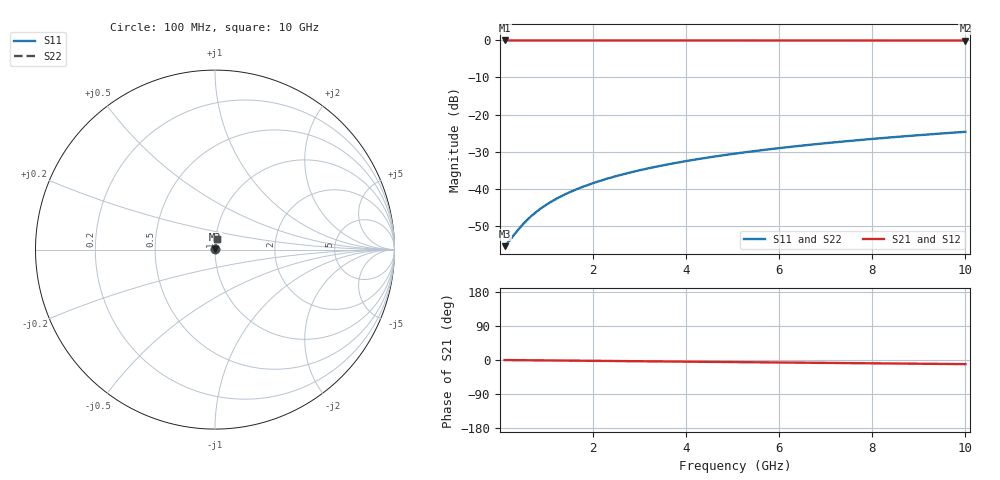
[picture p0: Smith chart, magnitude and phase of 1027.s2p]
# Hz S RI R 50.00
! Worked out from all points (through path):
!   100 points, 100 MHz to 10 GHz, reference 50 ohm
!   highest |S21| = -0.01 dB at 100 MHz (marker M1); lowest = 0.0 dB at 10 GHz (marker M2)
!   group delay of S21, straight-line fit = 3.03 ps
!   lowest |S11| = -55.5 dB at 100 MHz (marker M3), VSWR 1.00, Z = 50.2 + j0.0588 ohm
!   |S11| at or under -10 dB: start of sweep to end of sweep
!   |S22| runs from -55.5 to -24.7 dB; largest |S21 - S12| = 0
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1e8  0.00158 0.000586  0.9984 -0.0019  0.9984 -0.0019  0.00158 0.000586
2e8  0.00159 0.00117  0.9984 -0.0038  0.9984 -0.0038  0.00159 0.00117
4e8  0.00161 0.00234  0.9984 -0.00759  0.9984 -0.00759  0.00161 0.00234
5e8  0.00163 0.00293  0.9983 -0.00949  0.9983 -0.00949  0.00163 0.00293
6e8  0.00165 0.00352  0.9983 -0.0114  0.9983 -0.0114  0.00165 0.00352
7e8  0.00166 0.0041  0.9983 -0.0133  0.9983 -0.0133  0.00166 0.0041
8e8  0.00168 0.00469  0.9982 -0.0152  0.9982 -0.0152  0.00168 0.00469
1e9  0.00173 0.00586  0.9982 -0.019  0.9982 -0.019  0.00173 0.00586
1.2e9  0.00179 0.00703  0.9981 -0.0228  0.9981 -0.0228  0.00179 0.00703
1.5e9  0.00188 0.00878  0.9979 -0.0285  0.9979 -0.0285  0.00188 0.00878
1.8e9  0.002 0.0105  0.9977 -0.0342  0.9977 -0.0342  0.002 0.0105
2.1e9  0.00213 0.0123  0.9975 -0.0398  0.9975 -0.0398  0.00213 0.0123
2.5e9  0.00235 0.0146  0.9971 -0.0474  0.9971 -0.0474  0.00235 0.0146
2.9e9  0.00259 0.017  0.9966 -0.055  0.9966 -0.055  0.00259 0.017
3.4e9  0.00295 0.0199  0.996 -0.0645  0.996 -0.0645  0.00295 0.0199
4.2e9  0.00363 0.0245  0.9948 -0.0796  0.9948 -0.0796  0.00363 0.0245
5.1e9  0.00457 0.0297  0.9931 -0.0966  0.9931 -0.0966  0.00457 0.0297
5.9e9  0.00556 0.0343  0.9914 -0.1117  0.9914 -0.1117  0.00556 0.0343
6.7e9  0.00668 0.0388  0.9894 -0.1268  0.9894 -0.1268  0.00668 0.0388
7.5e9  0.00794 0.0433  0.9871 -0.1418  0.9871 -0.1418  0.00794 0.0433
8.4e9  0.00952 0.0483  0.9843 -0.1587  0.9843 -0.1587  0.00952 0.0483
1e10  0.0128 0.0571  0.9784 -0.1885  0.9784 -0.1885  0.0128 0.0571
